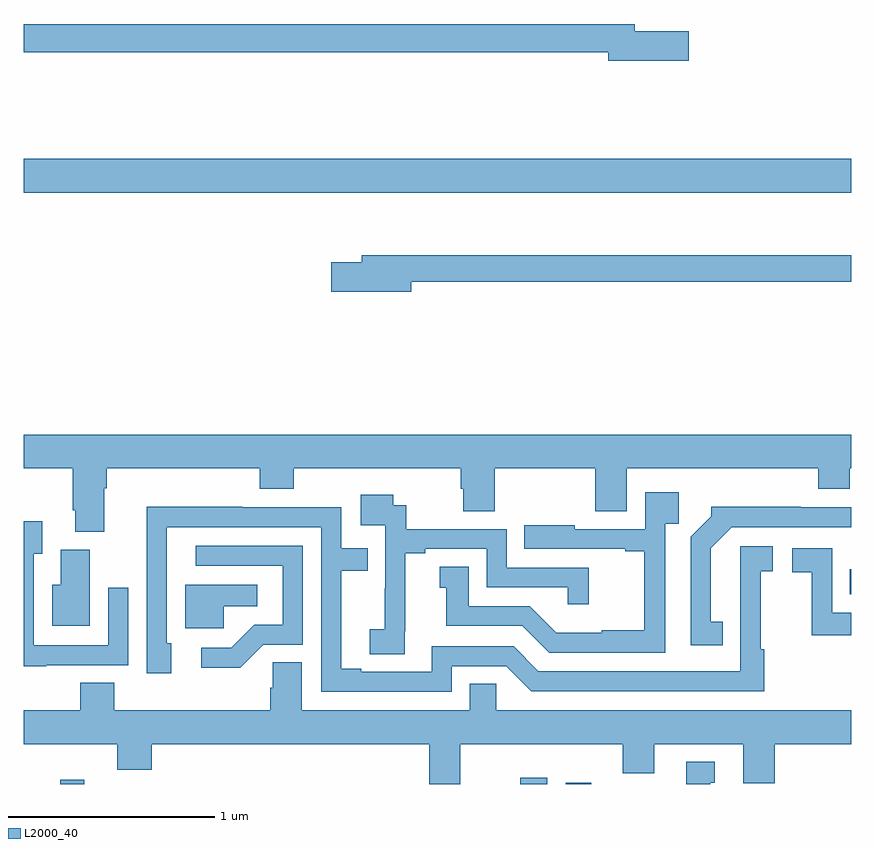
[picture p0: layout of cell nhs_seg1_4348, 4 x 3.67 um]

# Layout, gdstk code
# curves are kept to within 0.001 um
import gdstk
lib = gdstk.Library(unit=1e-6, precision=1e-09)
def R(c, l, rs):  # rectangles x0, y0, x1, y1
    for r in rs: c.add(gdstk.rectangle(r[:2], r[2:], *l))
def P(c, l, *ps):  # polygons
    for p in ps: c.add(gdstk.Polygon(p, *l))
L2000_40 = (2000, 40)

nhs_seg1_4348 = lib.new_cell('nhs_seg1_4348')
R(nhs_seg1_4348, L2000_40, [(347.177,558.199,347.292,558.22), (349.4,558.199,349.531,558.229), (349.619,558.199,349.744,558.205), (350.992,559.115,351,559.237), (347,561.056,351,561.22)])
P(nhs_seg1_4348, L2000_40, [(350.215,561.836),(349.954,561.836),(349.954,561.872),(347,561.872),(347,561.736),(349.826,561.736),(349.826,561.694),(350.215,561.694)],
  [(348.874,560.626),(351,560.626),(351,560.755),(348.635,560.755),(348.635,560.721),(348.486,560.721),(348.486,560.579),(348.874,560.579)],
  [(347.389,559.628),(347.402,559.628),(347.402,559.724),(348.14,559.724),(348.14,559.625),(348.305,559.625),(348.305,559.724),(349.112,559.724),(349.112,559.626),(349.124,559.626),(349.124,559.516),(349.277,559.516),(349.277,559.724),(349.763,559.724),(349.763,559.516),(349.915,559.516),(349.915,559.724),(350.84,559.724),(350.84,559.625),(350.992,559.625),(350.992,559.724),(351,559.724),(351,559.888),(347,559.888),(347,559.724),(347.237,559.724),(347.237,559.522),(347.249,559.522),(347.249,559.417),(347.389,559.417)],
  [(350.1,559.457),(350.165,559.457),(350.165,559.609),(350.004,559.609),(350.004,559.431),(349.663,559.431),(349.663,559.45),(349.42,559.45),(349.42,559.335),(349.907,559.335),(349.907,559.323),(349.999,559.323),(349.999,558.943),(349.793,558.943),(349.793,558.931),(349.574,558.931),(349.446,559.059),(349.15,559.059),(349.15,559.25),(349.01,559.25),(349.01,559.147),(349.043,559.147),(349.043,558.963),(349.41,558.963),(349.539,558.834),(350.1,558.834)],
  [(348.842,558.937),(348.844,558.937),(348.844,559.315),(348.94,559.315),(348.94,559.335),(349.239,559.335),(349.239,559.149),(349.629,559.149),(349.629,559.068),(349.73,559.068),(349.73,559.245),(349.335,559.245),(349.335,559.431),(348.848,559.431),(348.848,559.545),(348.786,559.545),(348.786,559.597),(348.63,559.597),(348.63,559.449),(348.747,559.449),(348.747,559.145),(348.746,559.145),(348.746,558.948),(348.672,558.948),(348.672,558.826),(348.842,558.826)],
  [(349.068,558.768),(349.332,558.768),(349.452,558.648),(350.579,558.648),(350.579,558.851),(350.562,558.851),(350.562,559.227),(350.62,559.227),(350.62,559.348),(350.462,559.348),(350.463,558.744),(349.488,558.744),(349.368,558.864),(348.972,558.864),(348.972,558.741),(348.631,558.741),(348.631,558.756),(348.535,558.756),(348.535,559.23),(348.662,559.23),(348.662,559.338),(348.534,559.338),(348.534,559.536),(348.056,559.536),(348.056,559.538),(347.594,559.538),(347.595,558.735),(347.713,558.735),(347.713,558.879),(347.691,558.879),(347.691,559.44),(348.438,559.44),(348.438,558.645),(349.068,558.645)],
  [(350.378,558.983),(350.32,558.983),(350.32,559.339),(350.421,559.44),(351,559.44),(351,559.536),(350.756,559.536),(350.756,559.538),(350.322,559.538),(350.322,559.493),(350.223,559.394),(350.223,558.87),(350.378,558.87)],
  [(347.109,558.774),(347.505,558.774),(347.505,559.147),(347.409,559.147),(347.409,558.87),(347.049,558.87),(347.049,559.312),(347.089,559.312),(347.089,559.468),(347,559.468),(347,558.767),(347.109,558.767)],
  [(348.159,558.873),(348.348,558.873),(348.348,559.35),(347.832,559.35),(347.832,559.254),(348.252,559.254),(348.252,558.969),(348.114,558.969),(348.003,558.858),(347.859,558.858),(347.859,558.761),(348.046,558.761)],
  [(351,559.026),(350.907,559.026),(350.907,559.338),(350.715,559.338),(350.715,559.222),(350.809,559.222),(350.809,558.918),(351,558.918)],
  [(347.32,559.332),(347.18,559.332),(347.18,559.162),(347.138,559.162),(347.138,558.965),(347.32,558.965)],
  [(347.967,559.058),(348.13,559.058),(348.13,559.162),(347.78,559.162),(347.78,558.951),(347.967,558.951)],
  [(349.111,558.392),(349.895,558.392),(349.895,558.251),(350.047,558.251),(350.047,558.392),(350.477,558.392),(350.477,558.203),(350.63,558.203),(350.63,558.392),(351,558.392),(351,558.556),(349.284,558.556),(349.284,558.683),(349.157,558.683),(349.157,558.556),(348.343,558.556),(348.343,558.788),(348.204,558.788),(348.204,558.665),(348.191,558.665),(348.191,558.556),(347.438,558.556),(347.438,558.689),(347.273,558.689),(347.273,558.556),(347,558.556),(347,558.392),(347.453,558.392),(347.453,558.268),(347.618,558.268),(347.618,558.392),(348.959,558.392),(348.959,558.199),(349.111,558.199)],
  [(350.317,558.204),(350.341,558.204),(350.341,558.307),(350.201,558.307),(350.201,558.199),(350.317,558.199)])

lib.write_gds('nhs_seg1_4348.gds')
